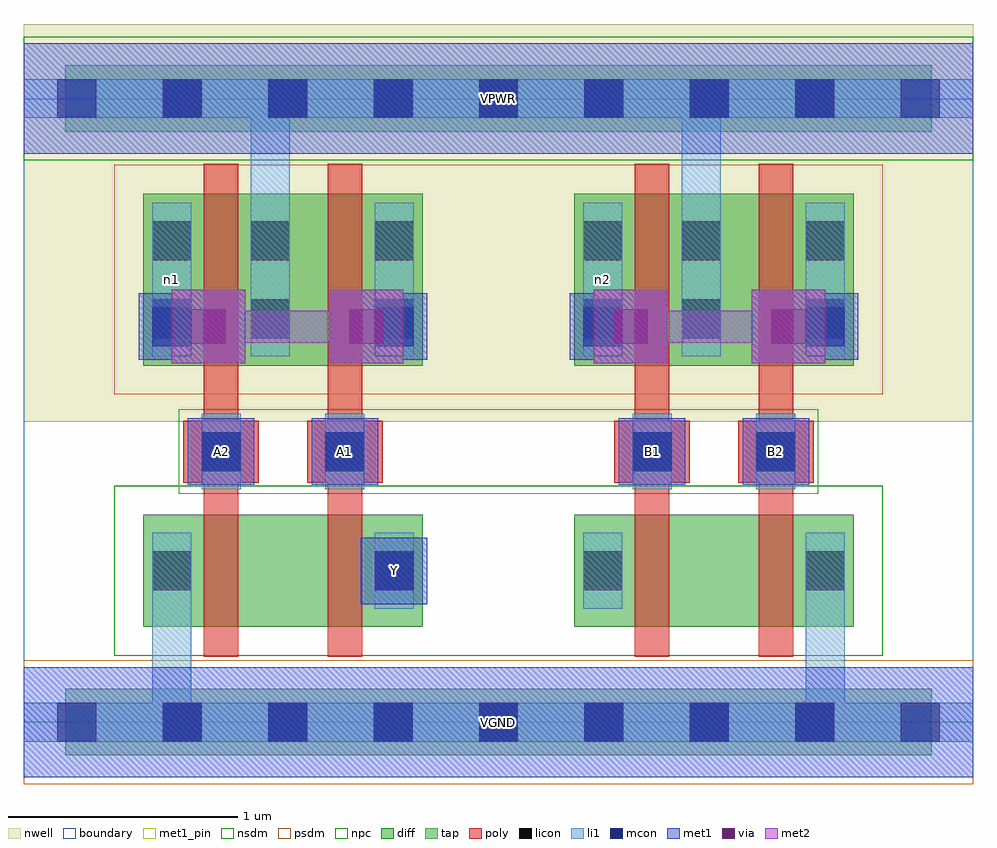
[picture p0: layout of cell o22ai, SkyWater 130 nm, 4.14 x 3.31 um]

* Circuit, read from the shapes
.subckt o22ai A1 A2 B1 B2 VGND VPWR Y n1 n2
XM1 n3 A2 VGND VGND sky130_fd_pr__nfet_01v8 w=0.49 l=0.15
XM2 Y A1 n3 VGND sky130_fd_pr__nfet_01v8 w=0.49 l=0.15
XM3 n4 B1 n5 VGND sky130_fd_pr__nfet_01v8 w=0.49 l=0.15
XM4 VGND B2 n4 VGND sky130_fd_pr__nfet_01v8 w=0.49 l=0.15
XM5 VPWR A2 n1 VPWR sky130_fd_pr__pfet_01v8 w=0.75 l=0.15
XM6 n1 A1 VPWR VPWR sky130_fd_pr__pfet_01v8 w=0.75 l=0.15
XM7 VPWR B1 n2 VPWR sky130_fd_pr__pfet_01v8 w=0.75 l=0.15
XM8 n2 B2 VPWR VPWR sky130_fd_pr__pfet_01v8 w=0.75 l=0.15
.ends

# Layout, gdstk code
import gdstk
lib = gdstk.Library(unit=1e-6, precision=1e-09)
def R(c, l, rs):  # rectangles x0, y0, x1, y1
    for r in rs: c.add(gdstk.rectangle(r[:2], r[2:], *l))
def A(c, l, x, y, w, h, nx, ny, dx, dy):  # array of equal rectangles
    R(c, l, [(x+i*dx, y+j*dy, x+i*dx+w, y+j*dy+h) for i in range(nx) for j in range(ny)])
nwell = (64, 20)
diff = (65, 20)
tap = (65, 44)
poly = (66, 20)
licon = (66, 44)
li1 = (67, 20)
mcon = (67, 44)
met1_pin = (68, 16)
met1 = (68, 20)
via = (68, 44)
met2 = (69, 20)
nsdm = (93, 44)
psdm = (94, 20)
npc = (95, 20)
boundary = (235, 4)

o22ai = lib.new_cell('o22ai')
R(o22ai, nwell, [(0,1.31,4.14,3.045)])
R(o22ai, diff, [(0.52,0.415,1.74,0.905), (2.4,0.415,3.62,0.905), (0.52,1.555,1.74,2.305), (2.4,1.555,3.62,2.305)])
R(o22ai, tap, [(0.18,-0.145,3.96,0.145), (0.18,2.575,3.96,2.865)])
R(o22ai, poly, [(0.785,0.285,0.935,2.435), (1.325,0.285,1.475,2.435), (2.665,0.285,2.815,2.435), (3.205,0.285,3.355,2.435), (0.695,1.045,1.025,1.315), (1.235,1.045,1.565,1.315), (2.575,1.045,2.905,1.315), (3.115,1.045,3.445,1.315)])
A(o22ai, licon, 0.605, -0.085, 0.17, 0.17, 7, 2, 0.46, 2.72)
R(o22ai, licon, [(0.56,0.575,0.73,0.745), (1.53,0.575,1.7,0.745), (2.44,0.575,2.61,0.745), (3.41,0.575,3.58,0.745), (0.775,1.095,0.945,1.265), (1.315,1.095,1.485,1.265), (2.655,1.095,2.825,1.265), (3.195,1.095,3.365,1.265), (0.56,1.675,0.73,1.845), (0.99,1.675,1.16,1.845), (1.53,1.675,1.7,1.845), (2.44,1.675,2.61,1.845), (2.87,1.675,3.04,1.845), (3.41,1.675,3.58,1.845), (0.56,2.015,0.73,2.185), (0.99,2.015,1.16,2.185), (1.53,2.015,1.7,2.185), (2.44,2.015,2.61,2.185), (2.87,2.015,3.04,2.185), (3.41,2.015,3.58,2.185)])
R(o22ai, li1, [(0,-0.085,4.14,0.085), (0.56,-0.085,0.73,0.825), (3.41,-0.085,3.58,0.825), (0.56,0.495,0.73,0.825), (1.53,0.495,1.7,0.825), (2.44,0.495,2.61,0.825), (3.41,0.495,3.58,0.825), (0.775,1.015,0.945,1.345), (1.315,1.015,1.485,1.345), (2.655,1.015,2.825,1.345), (3.195,1.015,3.365,1.345), (0.56,1.595,0.73,2.265), (0.99,1.595,1.16,2.265), (0.99,1.595,1.16,2.805), (1.53,1.595,1.7,2.265), (2.44,1.595,2.61,2.265), (2.87,1.595,3.04,2.265), (2.87,1.595,3.04,2.805), (3.41,1.595,3.58,2.265), (0,2.635,4.14,2.805)])
A(o22ai, mcon, 0.145, -0.085, 0.17, 0.17, 9, 2, 0.46, 2.72)
R(o22ai, mcon, [(1.53,0.575,1.7,0.745), (0.775,1.095,0.945,1.265), (1.315,1.095,1.485,1.265), (2.655,1.095,2.825,1.265), (3.195,1.095,3.365,1.265), (0.56,1.64,0.73,1.81), (1.53,1.64,1.7,1.81), (2.44,1.64,2.61,1.81), (3.41,1.64,3.58,1.81)])
R(o22ai, met1_pin, [(0,-0.24,4.14,0.24), (1.47,0.515,1.76,0.805), (0.715,1.035,1.005,1.325), (1.255,1.035,1.545,1.325), (2.595,1.035,2.885,1.325), (3.135,1.035,3.425,1.325), (0,2.48,4.14,2.96)])
R(o22ai, met1, [(0,-0.24,4.14,0.24), (1.47,0.515,1.76,0.805), (0.715,1.035,1.005,1.325), (1.255,1.035,1.545,1.325), (2.595,1.035,2.885,1.325), (3.135,1.035,3.425,1.325), (0.645,1.565,0.965,1.885), (1.335,1.565,1.655,1.885), (2.485,1.565,2.805,1.885), (3.175,1.565,3.495,1.885), (0.5,1.58,0.79,1.87), (1.47,1.58,1.76,1.87), (2.38,1.58,2.67,1.87), (3.35,1.58,3.64,1.87), (0.575,1.655,0.875,1.795), (1.425,1.655,1.685,1.795), (2.455,1.655,2.715,1.795), (3.265,1.655,3.565,1.795), (0,2.48,4.14,2.96)])
R(o22ai, via, [(0.73,1.65,0.88,1.8), (1.42,1.65,1.57,1.8), (2.57,1.65,2.72,1.8), (3.26,1.65,3.41,1.8)])
R(o22ai, met2, [(0.645,1.565,0.965,1.885), (1.335,1.565,1.655,1.885), (2.485,1.565,2.805,1.885), (3.175,1.565,3.495,1.885), (0.735,1.655,1.565,1.795), (2.575,1.655,3.405,1.795)])
R(o22ai, nsdm, [(0.395,0.29,3.745,1.03), (0,2.45,4.14,2.99)])
R(o22ai, psdm, [(0,-0.27,4.14,0.27), (0.395,1.43,3.745,2.43)])
R(o22ai, npc, [(0.675,0.995,3.465,1.365)])
R(o22ai, boundary, [(0,0,4.14,2.72)])
o22ai.add(gdstk.Label('n1', (0.645,1.93), layer=67, texttype=5))
o22ai.add(gdstk.Label('n2', (2.525,1.93), layer=67, texttype=5))
o22ai.add(gdstk.Label('A1', (1.4,1.18), layer=68, texttype=5))
o22ai.add(gdstk.Label('A2', (0.86,1.18), layer=68, texttype=5))
o22ai.add(gdstk.Label('B1', (2.74,1.18), layer=68, texttype=5))
o22ai.add(gdstk.Label('B2', (3.28,1.18), layer=68, texttype=5))
o22ai.add(gdstk.Label('Y', (1.615,0.66), layer=68, texttype=5))
o22ai.add(gdstk.Label('VPWR', (2.07,2.72), layer=68, texttype=5))
o22ai.add(gdstk.Label('VGND', (2.07,0), layer=68, texttype=5))
o22ai.add(gdstk.Label('A1', (1.4,1.18), layer=68, texttype=16))
o22ai.add(gdstk.Label('A2', (0.86,1.18), layer=68, texttype=16))
o22ai.add(gdstk.Label('B1', (2.74,1.18), layer=68, texttype=16))
o22ai.add(gdstk.Label('B2', (3.28,1.18), layer=68, texttype=16))
o22ai.add(gdstk.Label('Y', (1.615,0.66), layer=68, texttype=16))
o22ai.add(gdstk.Label('VPWR', (2.07,2.72), layer=68, texttype=16))
o22ai.add(gdstk.Label('VGND', (2.07,0), layer=68, texttype=16))

lib.write_gds('o22ai.gds')
